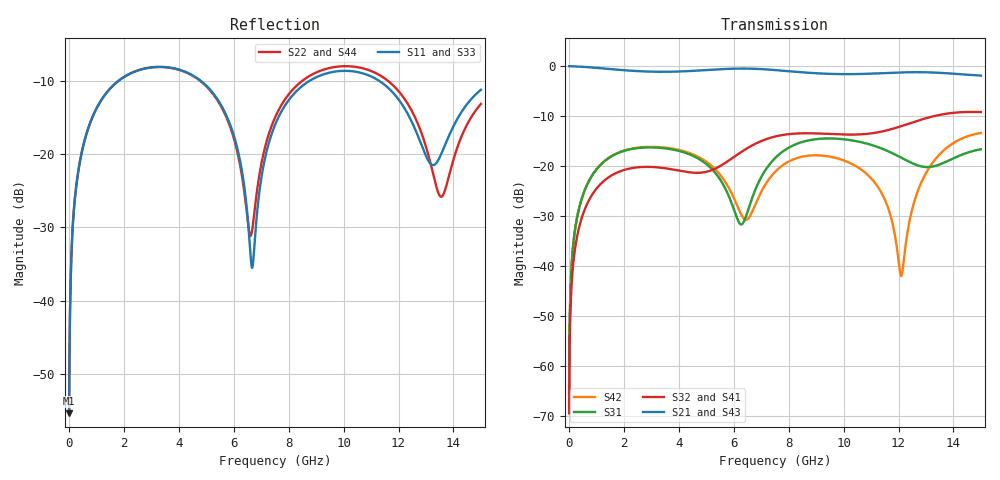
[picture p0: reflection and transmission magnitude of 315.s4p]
! Created with skrf 1.8.0 (http://scikit-rf.org).
# GHz S RI R 50.0
!freq ReS11 ImS11 ReS12 ImS12 ReS13 ImS13
! ReS14 ImS14
! ReS21 ImS21 ReS22 ImS22 ReS23 ImS23
! ReS24 ImS24
! ReS31 ImS31 ReS32 ImS32 ReS33 ImS33
! ReS34 ImS34
! ReS41 ImS41 ReS42 ImS42 ReS43 ImS43
! ReS44 ImS44
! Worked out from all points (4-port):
!   2499 points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, 5 MHz to 15 GHz, reference 50 ohm
!   strongest paths, dB at 5 MHz, 3.476 GHz, 7.19 GHz, 11.1 GHz, 15 GHz:
!     S21: 0.0, -1.1, -0.7, -1.5, -1.9
!     S43: 0.0, -1.1, -0.7, -1.5, -1.9
!     S32: -69.5, -20.4, -14.6, -13.4, -9.2
!     S41: -69.5, -20.5, -14.6, -13.4, -9.3
!     S31: -65.6, -16.4, -20.5, -15.9, -16.7
!     S42: -65.6, -16.3, -23.4, -23.1, -13.4
!   lowest |S11| = -55.4 dB at 5 MHz (marker M1), VSWR 1.00, Z = 50.1 + j0.103 ohm
!   |S11| at or under -10 dB: start of sweep to 1.796 GHz; 4.806 GHz to 8.752 GHz (3.947 GHz wide, 58.2 % of centre); 11.3 GHz to end of sweep
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0.005  0.00135 0.00103  0.9986 -0.00263  6.65e-05 0.00052  -6.47e-05 -0.000328
       0.9986 -0.00263  0.00135 0.00103  -6.47e-05 -0.000328  6.65e-05 0.00052
       6.65e-05 0.00052  -6.47e-05 -0.000328  0.00135 0.00103  0.9986 -0.00263
       -6.47e-05 -0.000328  6.65e-05 0.00052  0.9986 -0.00263  0.00135 0.00103
0.4126719  0.0265 0.0882  0.9634 -0.2147  0.0122 0.0403  -0.0102 -0.025
           0.9634 -0.2147  0.0265 0.0882  -0.0103 -0.025  0.0124 0.0403
           0.0122 0.0403  -0.0103 -0.025  0.0265 0.0882  0.9634 -0.2147
           -0.0102 -0.025  0.0124 0.0403  0.9634 -0.2147  0.0265 0.0882
2.025844  0.2932 0.1702  0.4992 -0.7589  0.1315 0.0545  -0.0914 0.00207
          0.4992 -0.7589  0.2923 0.1707  -0.0915 0.00226  0.1338 0.0509
          0.1315 0.0545  -0.0915 0.00226  0.2931 0.1703  0.4992 -0.7589
          -0.0914 0.00207  0.1338 0.0509  0.4992 -0.7589  0.2925 0.1706
6.621509  0.0168 -0.0096  -0.9397 -0.0736  0.036 0.0248  -0.00947 0.1577
          -0.9397 -0.0736  0.0277 0.00148  -0.00636 0.1578  -0.026 0.0197
          0.036 0.0248  -0.00636 0.1578  0.0184 -0.01  -0.9397 -0.0736
          -0.00947 0.1577  -0.026 0.0197  -0.9397 -0.0736  0.026 0.000963
10.03543  0.37 0.0249  -0.0834 0.827  0.1274 -0.1338  0.2032 -0.03
          -0.0834 0.827  0.399 -0.00641  0.2034 -0.0357  0.1109 -0.0214
          0.1274 -0.1338  0.2034 -0.0357  0.3705 0.0233  -0.0827 0.8266
          0.2032 -0.03  0.1109 -0.0214  -0.0827 0.8266  0.4006 -0.0045
12.09879  0.1804 -0.1313  0.6301 0.5913  -0.0779 -0.0929  0.1693 -0.1843
          0.6301 0.5913  0.1771 -0.185  0.1632 -0.1901  0.00734 0.00294
          -0.0779 -0.0929  0.1632 -0.1901  0.1815 -0.1345  0.6296 0.5908
          0.1693 -0.1843  0.00734 0.00294  0.6296 0.5908  0.181 -0.1856
15  0.2382 0.1385  0.6497 -0.4732  0.1241 0.0788  -0.2372 -0.2499
    0.6497 -0.4732  0.1789 0.1287  -0.248 -0.2424  0.2104 0.0374
    0.1241 0.0788  -0.248 -0.2424  0.2311 0.1334  0.6508 -0.4742
    -0.2372 -0.2499  0.2104 0.0374  0.6508 -0.4742  0.18 0.1235
